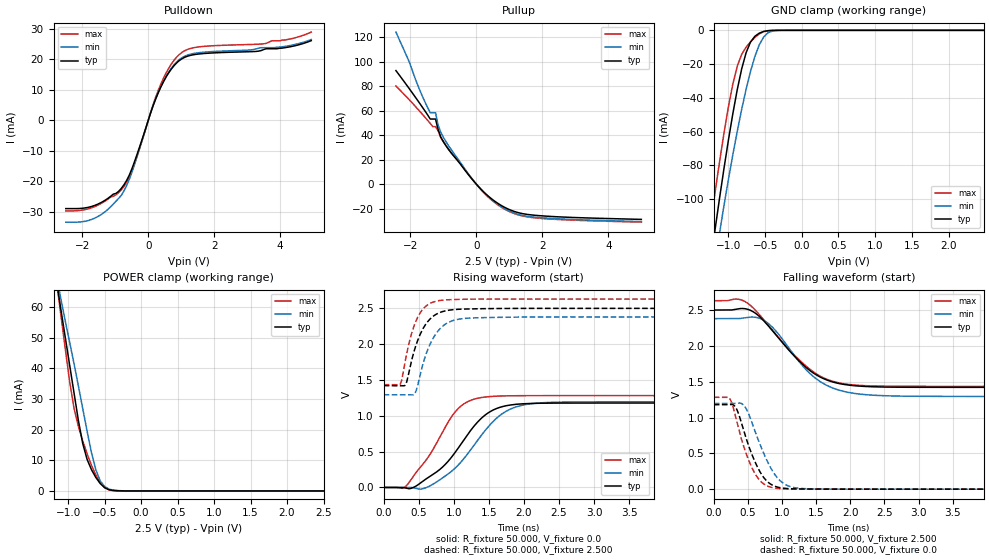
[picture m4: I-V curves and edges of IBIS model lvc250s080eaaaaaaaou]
| [Disclaimer] This IBIS source code is intended as a design reference
| which illustrates how the Lattice Semiconductor device operates.
| It is the user's responsibility to verify their design for
| consistency and functionality through the use of formal
| verification methods.  Lattice Semiconductor provides no warranty
| regarding the use or functionality of this data.
| [Copyright] Copyright 2007 by Lattice Semiconductor Corporation
| From record_impl1.ibs, SAPPHIRE, Lattice Semiconductor Corp.
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[Model] lvc250s080eaaaaaaaou
Model_type  Output
Polarity   Non-Inverting
Enable   Active-Low
Vmeas =  1.250V
Cref =  0.0F
Rref =  1.000M
Vref =  0.0V
C_comp   5.000pF   4.000pF   5.500pF
[Temperature Range]   25.000   0.125k   -40.000
[Voltage Range]   2.500V   2.380V   2.630V
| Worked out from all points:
|   slope of the pulldown table from 0 to 0.375 V, typ, clamps not added: 34.9 ohm
|   slope of the pullup table from 0 to 0.375 V, typ, clamps not added: 37.3 ohm
|   GND clamp passes 1 mA (typ) near -0.54 V on its own axis
|   POWER clamp passes 1 mA (typ) near -0.49 V on its own axis
|   rising waveform, R_fixture 50.000, V_fixture 0.0: 20-80 % time 588ps typ, 614ps min, 495ps max; typ from 0 V to 1.18 V
|   rising waveform, R_fixture 50.000, V_fixture 2.500: 20-80 % time 238ps typ, 252ps min, 203ps max; typ from 1.42 V to 2.5 V
|   falling waveform, R_fixture 50.000, V_fixture 2.500: 20-80 % time 640ps typ, 594ps min, 698ps max; typ from 2.5 V to 1.42 V
|   falling waveform, R_fixture 50.000, V_fixture 0.0: 20-80 % time 281ps typ, 321ps min, 265ps max; typ from 1.18 V to 0 V
[Pulldown]
|Voltage   I(typ)   I(min)   I(max)
-2.5V     -29mA      -33.45mA   -29.74mA
-1.54V    -27.59mA   -31.68mA   -27.93mA
-1.14V    -24.97mA   -28.41mA   -25.2mA
-740mV    -21.24mA   -23.27mA   -21.81mA
-420mV    -13.7mA    -14.59mA   -14.42mA
60mV      2.026mA    2.064mA    2.192mA
300mV     8.946mA    9.108mA    9.732mA
620mV     15.57mA    15.83mA    17.06mA
940mV     19.56mA    19.88mA    21.55mA
1.42V     21.58mA    21.99mA    23.88mA
3.5V      23.2mA     23.8mA     25.08mA
4.94V     26.12mA    26.49mA    28.92mA
[Pullup]
|Voltage   I(typ)   I(min)   I(max)
-2.44V    92.93mA    124.4mA    80.33mA
-2.04V    78.33mA    100.3mA    69.18mA
-1.48V    56.75mA    62.79mA    52.24mA
-1.4V     53.32mA    58.48mA    49.81mA
-1.24V    53.32mA    58.48mA    47.1mA
-1.16V    44.56mA    48.35mA    43.82mA
-1V       34.69mA    38.28mA    34.86mA
-120mV    3.778mA    3.962mA    4.059mA
520mV     -13.17mA   -13.8mA    -14.24mA
1.08V     -21.58mA   -22.85mA   -23.28mA
1.64V     -24.99mA   -26.54mA   -27.06mA
5V        -28.73mA   -30.54mA   -31.01mA
[GND_clamp]
|Voltage   I(typ)   I(min)   I(max)
-2.5V     -600.3mA   -576.2mA   -594.4mA
-1.24V    -136mA     -154.5mA   -113.9mA
-1.18V    -117.2mA   -136.7mA   -95.27mA
-1.12V    -99.04mA   -119.7mA   -77.45mA
-1V       -64.9mA    -88.21mA   -45.19mA
-880mV    -35.12mA   -59.82mA   -21.21mA
-760mV    -13.33mA   -35.03mA   -10mA
-700mV    -7.01mA    -24.46mA   -6.829mA
-580mV    -1.679mA   -8.593mA   -2.127mA
-460mV    -210.1uA   -1.441mA   -213.7uA
-340mV    -8.598uA   -109.2uA   -6.553uA
2.48V     0A         0A         0A
[POWER_clamp]
|Voltage   I(typ)   I(min)   I(max)
-2.48V    301.8mA    269mA      334.4mA
-1.16V    68.59mA    70.21mA    68.47mA
-1.1V     59.33mA    62.74mA    57.51mA
-980mV    41.18mA    48.59mA    35.82mA
-920mV    32.13mA    41.65mA    27.11mA
-860mV    23.04mA    34.34mA    21.08mA
-800mV    15.49mA    26.9mA     16.35mA
-740mV    10.29mA    19.52mA    12.1mA
-620mV    4.381mA    6.888mA    5.184mA
-560mV    2.412mA    3.25mA     2.719mA
-440mV    397.7uA    604uA      311uA
2.5V      0A         0A         0A
[Ramp]
| variable   typ   min   max
dV/dt_r 0.707/0.589n   0.717/0.626n   0.769/0.501n
dV/dt_f 0.647/0.648n   0.652/0.602n   0.717/0.706n
R_load = 50.000
[Rising Waveform]
R_fixture= 50.000
V_fixture= 0.0
V_fixture_min= 0.0
V_fixture_max= 0.0
|time   V(typ)   V(min)   V(max)
0s        0V         0V         0V
302ps     -5.322mV   -135.2uV   4mV
424ps     -18.48uV   -4.353mV   156.7mV
681ps     168mV      32.1mV     493.5mV
870ps     313.4mV    153.5mV    828.5mV
1.053ns   535.9mV    302.4mV    1.092V
1.429ns   996.8mV    773.6mV    1.26V
1.788ns   1.148V     1.085V     1.279V
2.303ns   1.176V     1.185V     1.282V
10ns      1.179V     1.196V     1.282V
[Rising Waveform]
R_fixture= 50.000
V_fixture= 2.500
V_fixture_min= 2.380
V_fixture_max= 2.630
|time   V(typ)   V(min)   V(max)
0s        1.421V     1.294V     1.435V
240ps     1.421V     1.294V     1.448V
320ps     1.45V      1.294V     1.827V
439ps     1.919V     1.303V     2.27V
524ps     2.145V     1.589V     2.442V
629ps     2.316V     1.926V     2.551V
824ps     2.45V      2.237V     2.613V
1.074ns   2.488V     2.35V      2.626V
1.661ns   2.499V     2.375V     2.63V
10ns      2.5V       2.38V      2.63V
[Falling Waveform]
R_fixture= 50.000
V_fixture= 2.500
V_fixture_min= 2.380
V_fixture_max= 2.630
|time   V(typ)   V(min)   V(max)
0s        2.5V       2.38V      2.63V
412ps     2.521V     2.386V     2.638V
563ps     2.484V     2.402V     2.542V
723ps     2.359V     2.361V     2.375V
914ps     2.149V     2.203V     2.155V
1.406ns   1.657V     1.617V     1.675V
1.654ns   1.524V     1.449V     1.535V
1.956ns   1.455V     1.353V     1.464V
2.933ns   1.422V     1.296V     1.435V
10ns      1.421V     1.294V     1.435V
[Falling Waveform]
R_fixture= 50.000
V_fixture= 0.0
V_fixture_min= 0.0
V_fixture_max= 0.0
|time   V(typ)   V(min)   V(max)
0s        1.179V     1.196V     1.282V
243ps     1.181V     1.196V     1.249V
332ps     1.122V     1.198V     962.6mV
442ps     808.2mV    1.168V     585.3mV
652ps     285.8mV    685.3mV    148.2mV
766ps     123.7mV    426.2mV    53.02mV
903ps     37.7mV     192.5mV    13.99mV
1.104ns   6.835mV    40.59mV    2.834mV
1.432ns   1.588mV    4.13mV     1.107mV
10ns      0V         0V         0V
